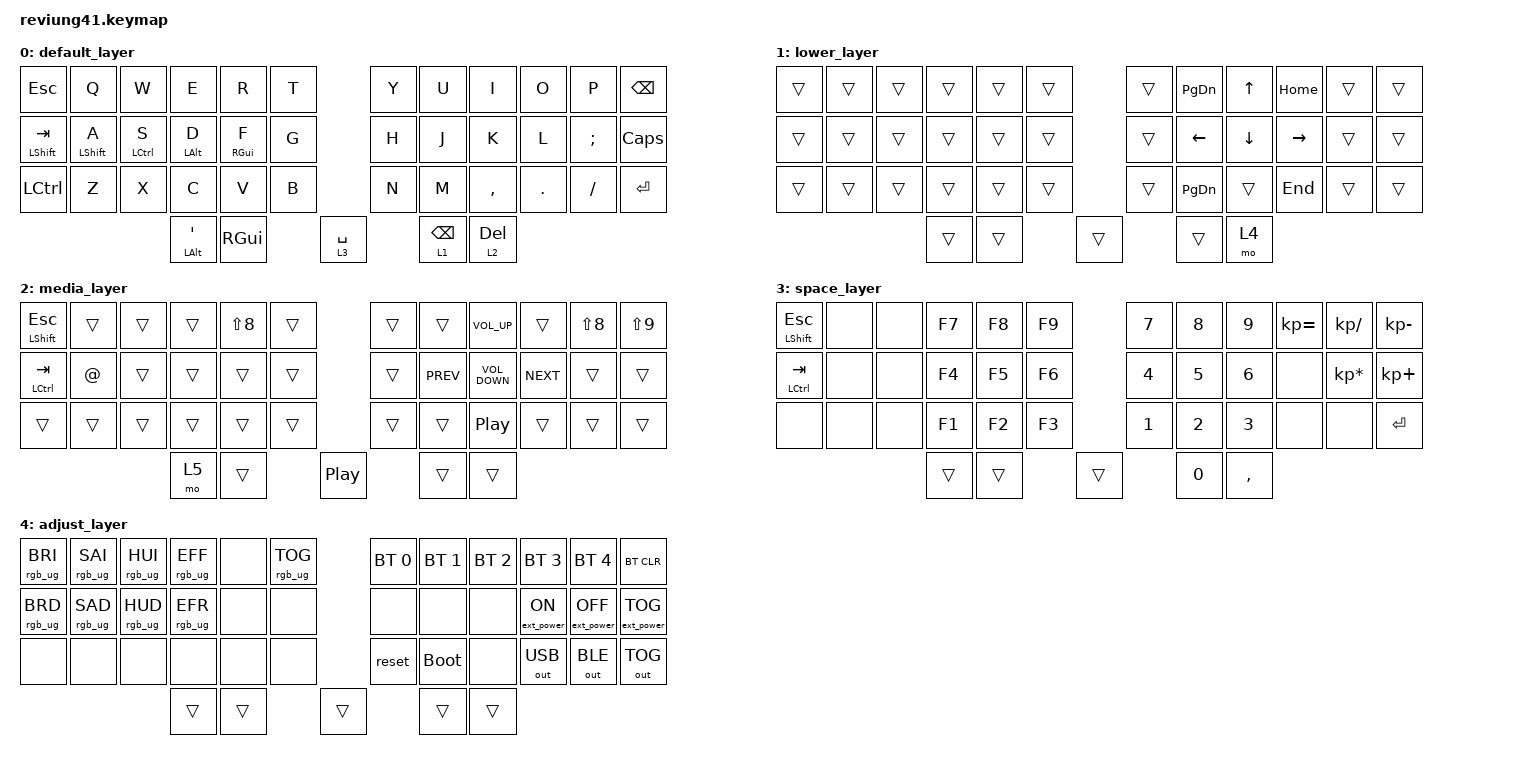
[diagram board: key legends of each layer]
#include <behaviors.dtsi>
#include <dt-bindings/led/led.h>
#include <dt-bindings/zmk/keys.h>
#include <dt-bindings/zmk/rgb.h>
#include <dt-bindings/zmk/bt.h>
#include <dt-bindings/zmk/ext_power.h>
#include <dt-bindings/zmk/outputs.h>

// #include <dt-bindings/zmk/mouse.h>
// Layers

#define _QWERTY      0
#define _LOWER       1
#define _RAISE       2
#define _SPACE       3
#define _AUDIO       4
#define _ADJUST      5

&spi1 {
    compatible = "nordic,nrf-spim";
    status = "okay";
    mosi-pin = <6>;

    // Unused pins, needed for SPI definition, but not used by the ws2812 driver itself.

    sck-pin = <5>;
    miso-pin = <7>;

    led_strip: ws2812@0 {
        compatible = "worldsemi,ws2812-spi";
        label = "WS2812";

        /* SPI */

        reg = <0>;/* ignored, but necessary for SPI bindings */
        spi-max-frequency = <4000000>;

        /* WS2812 */

        chain-length = <11>;/* arbitrary; change at will */
        spi-one-frame = <0x70>;
        spi-zero-frame = <0x40>;
        color-mapping = <LED_COLOR_ID_GREEN LED_COLOR_ID_RED LED_COLOR_ID_BLUE>;
    };
};

/ {
    chosen {
        zmk,underglow = &led_strip;
    };
};

// &caps_word {
//     continue-list = <UNDERSCORE MINUS>;
// };

/ {
    keymap {
        compatible = "zmk,keymap";

        // QWERTY LAYER (DEFAULT)
        // │ SFT_CL ESC │  Q   │  W   │  E   │  R   │  T   │            │  Y   │  U   │  I   │  O   │   P  │ tilde│
        //       ├──────┼──────┼──────┼──────┼──────┼──────┤            ├──────┼──────┼──────┼──────┼──────┼──────┤
        // │CTRL   TAB  │  A   │  S   │  D   │  F   │  G   │            │  H   │  J   │  K   │  L   │  ;   │  capslock │
        //       ├──────┼──────┼──────┼──────┼──────┼──────┤            ├──────┼──────┼──────┼──────┼──────┼──────┤
        //       │ ALT  │  Z   │  X   │  C   │  V   │  B   │            │  N   │  M   │  ,   │  .   │  /   │ ENT │
        //                             | MAC  | Lower_up   |  Space_spc  | Raise_down | BSPC |
        //                                +-------------/             \--------------+

        default_layer {
            bindings = <
            &kp ESC        &kp Q        &kp W                      &kp E            &kp R   &kp T                &kp Y            &kp U         &kp I    &kp O     &kp P  &kp BACKSPACE
 &mt LEFT_SHIFT TAB  &mt LSHFT A  &mt LCTRL S                 &mt LALT D  &mt RIGHT_GUI F   &kp G                &kp H            &kp J         &kp K    &kp L  &kp SEMI       &kp CAPS
   &kp LEFT_CONTROL        &kp Z        &kp X                      &kp C            &kp V   &kp B                &kp N            &kp M     &kp COMMA  &kp DOT  &kp FSLH        &kp RET
                                               &mt LEFT_ALT SINGLE_QUOTE    &kp RIGHT_GUI          &lt 3 SPACE          &lt 1 BACKSPACE  &lt 2 DELETE
            >;
        };

        // LOWER LAYER
        // ,---------------------------------------------------+         +------------------------------------------.
        // |   ESC |       |       |         |       |         |         |      | PGDN |  UP  | PGUP |      |       |
        // |-------+-------+-------+---------+-------+---------+         +------+------+------+------+------+-------|
        // |       |       |       |         |       |         |         | HOME | LEFT | DOWN | RGHT | END  |       |
        // |-------+-------+-------+---------+-------+---------+         +------+------+------+------+------+-------|
        // |       |       |       |         |       |         |         |      |      |      |LBKT  | RBKT |       |
        // |-------+-------+-------+---------+-------+---------+         +------+------+------+------+------+-------|
        //                                    | ____ | ____ |                | ____  | ____ |
        //                                    +-------------/                \--------------+

        lower_layer {
            bindings = <
 &trans  &trans  &trans  &trans  &trans  &trans          &trans  &kp PG_DN    &kp UP   &kp HOME  &trans  &trans
 &trans  &trans  &trans  &trans  &trans  &trans          &trans   &kp LEFT  &kp DOWN  &kp RIGHT  &trans  &trans
 &trans  &trans  &trans  &trans  &trans  &trans          &trans  &kp PG_DN    &trans    &kp END  &trans  &trans
                         &trans  &trans          &trans             &trans     &mo 4
            >;
        };

        // RAISE LAYER
        // ,---------------------------------------------------+         +------------------------------------------.
        // |   ESC |       |       |         |       |         |         |      |      |VOLUP |      |      |       |
        // |-------+-------+-------+---------+-------+---------+         +------+------+------+------+------+-------|
        // |       |       |       |         |       |         |         | HOME | PREV |VOLDOWN| NEXT |   |       |
        // |-------+-------+-------+---------+-------+---------+         +------+------+------+------+------+-------|
        // |       |       |       |         |       |         |         |      |      |      |      |      |       |
        // |-------+-------+-------+---------+-------+---------+         +------+------+------+------+------+-------|
        //                                    | ____ | ____ |                | ____  | ____ |
        //                                    +-------------/    PLAY/PAUSE   \--------------+

        media_layer {
            bindings = <
 &mt LSHFT ESC  &trans  &trans  &trans  &kp LS(N8)  &trans                    &trans      &trans    &kp C_VOLUME_UP      &trans  &kp LS(N8)  &kp LS(N9)
 &mt LCTRL TAB  &kp AT  &trans  &trans      &trans  &trans                    &trans  &kp C_PREV  &kp C_VOLUME_DOWN  &kp C_NEXT      &trans      &trans
        &trans  &trans  &trans  &trans      &trans  &trans                    &trans      &trans   &kp C_PLAY_PAUSE      &trans      &trans      &trans
                                 &mo 5      &trans          &kp C_PLAY_PAUSE              &trans             &trans
            >;
        };

        // SPACE LAYER
        // ,-----------------------------------------------+         +------------------------------------------.
        // |  ESC  |     |      |    F7   |   F8   |   F9   |         |  7   |  8   |  9   |   =  |  /   |   -   |
        // |-------+------+-------+--------+-------+-------+         +------+------+------+------+------+-------|
        // |       |     |      |    F4   |   F5   |   F6   |         |  4   |  5   |  6   |      |   *  |    +  |
        // |-------+------+-------+--------+-------+-------+         +------+------+------+------+------+-------|
        // |       |     |      |    F1  |   F2   |   F3   |         |  1   |  2   |  3   |      |      |   ENT |
        // |-------+------+-------+--------+-------+-------+         +------+------+------+------+------+-------|
        //                                | ____ | ____ |     _____  |  0   |  ,   |
        //                                +-------------/             \--------------+

        space_layer {
            bindings = <
 &mt LSHFT ESC   &none   &none  &kp F7  &kp F8  &kp F9          &kp N7  &kp N8     &kp N9  &kp KP_EQUAL    &kp KP_DIVIDE  &kp KP_MINUS
 &mt LCTRL TAB   &none   &none  &kp F4  &kp F5  &kp F6          &kp N4  &kp N5     &kp N6         &none  &kp KP_MULTIPLY   &kp KP_PLUS
         &none   &none   &none  &kp F1  &kp F2  &kp F3          &kp N1  &kp N2     &kp N3         &none            &none     &kp ENTER
                                &trans  &trans          &trans          &kp N0  &kp COMMA
            >;
        };

        // AUDIO LAYER
        // ADJUST LAYER
        // ,-------------------------------------------------------- -+         +-----------------------------------------.
        // | RGB BRI+ | RGB SAT+ | RGB HUE+ | RGB ANI+ |    | RGB TOG |         |  BT1  | BT2 | BT3 | BT4 | BT5  | BT CLR |
        // |----------+----------+----------+----------+----+---------+         +--- ---+-----+-----+-----+------+-- -----|
        // | RGB BRI- | RGB SAT- | RGB HUE- | RGB ANI- |    |         |         |       |     |     |EP_ON|EP_OFF| EP_TOG |
        // |----------+----------+----------+----------+----+---------+         +-------+-----+-----+-----+------+--------|
        // |          |          |          |          |    |         |         | RESET |BOOTL|     |O_USB|O_BLE |OUT_TOG |
        // |----------+----------+---------+-----------+----+---------+         +-------+-----+-----+-----+------+--------|
        //                                          | ____ | ____ |     _______     | ____  | ____ |
        //                                           +-------------/                \--------------+

        adjust_layer {
            bindings = <
 &rgb_ug RGB_BRI  &rgb_ug RGB_SAI  &rgb_ug RGB_HUI  &rgb_ug RGB_EFF   &none  &rgb_ug RGB_TOG          &bt BT_SEL 0  &bt BT_SEL 1  &bt BT_SEL 2      &bt BT_SEL 3       &bt BT_SEL 4         &bt BT_CLR
 &rgb_ug RGB_BRD  &rgb_ug RGB_SAD  &rgb_ug RGB_HUD  &rgb_ug RGB_EFR   &none            &none                 &none         &none         &none  &ext_power EP_ON  &ext_power EP_OFF  &ext_power EP_TOG
           &none            &none            &none            &none   &none            &none                &reset   &bootloader         &none      &out OUT_USB       &out OUT_BLE       &out OUT_TOG
                                                             &trans  &trans                   &trans                      &trans        &trans
            >;
        };
    };
};
